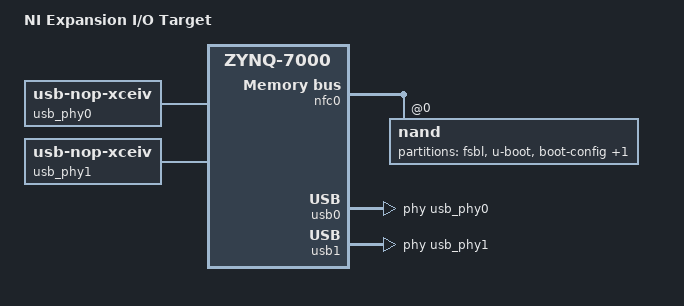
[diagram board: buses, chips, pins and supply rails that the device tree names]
// SPDX-License-Identifier: GPL-2.0 OR MIT
/*
 * Copyright (C) 2016 - 2023 National Instruments
 */

/include/ "zynq-7000.dtsi"

/ {
	model = "NI Expansion I/O Target";
	compatible = "ni,zynq-expio", "xlnx,zynq-7000";

	/* Populated by the bootloader */
	memory@0 {
		device_type = "memory";
		reg = <0 0>;
	};
	chosen { };

	usb_phy0: phy0 {
		compatible = "usb-nop-xceiv";
		#phy-cells = <0>;
	};

	usb_phy1: phy1 {
		compatible = "usb-nop-xceiv";
		#phy-cells = <0>;
	};
};

&L2 {
	prefetch-data = <1>;
	prefetch-instr = <1>;
	arm,dynamic-clock-gating = <0>;
	arm,standby-mode = <0>;
};

&nfc0 {
	status = "okay";

	nand@0 {
		reg = <0>;
		nand-bus-width = <8>;
		nand-is-boot-medium;

		partitions {
			compatible = "fixed-partitions";
			#address-cells = <1>;
			#size-cells = <1>;

			partition@0 {
				label = "fsbl";
				reg = <0x0 0x20000>;
			};

			partition@20000 {
				label = "u-boot";
				reg = <0x20000 0xa0000>;
			};

			partition@a0000 {
				label = "boot-config";
				reg = <0xa0000 0x24a0000>;
			};

			partition@24a0000 {
				label = "root";
				reg = <0x24a0000 0xff80000>;
			};
		};
	};
};

&usb0 {
	usb-phy = <&usb_phy0>;
};

&usb1 {
	usb-phy = <&usb_phy1>;
};
